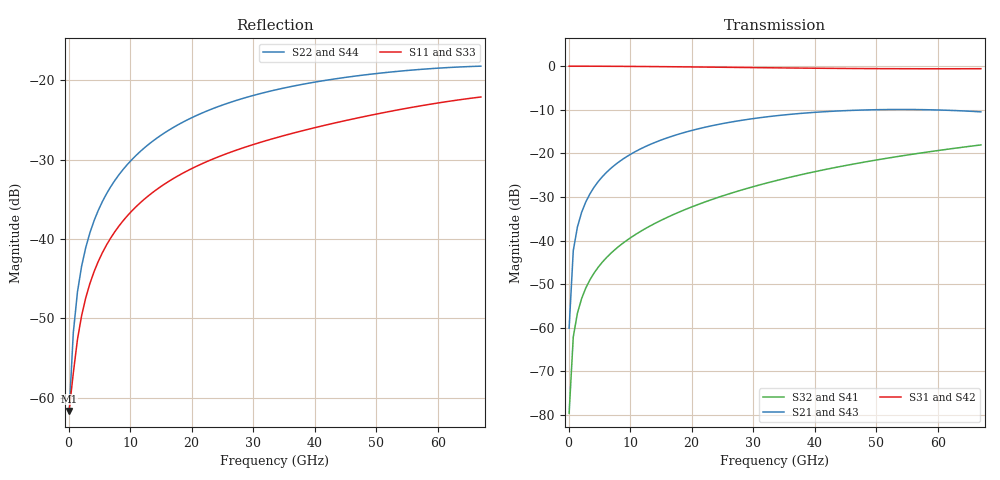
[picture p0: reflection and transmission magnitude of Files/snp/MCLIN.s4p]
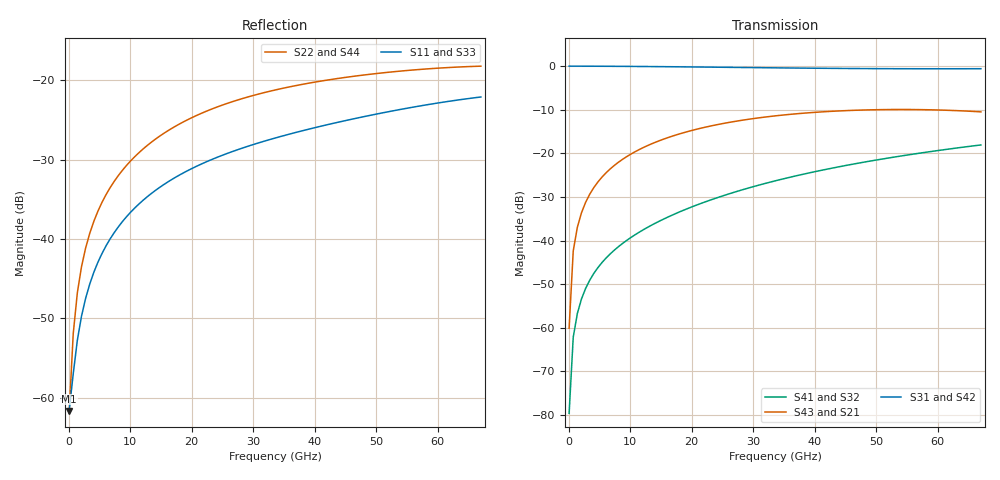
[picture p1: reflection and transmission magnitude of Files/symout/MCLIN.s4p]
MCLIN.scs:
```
simulator lang=local
global 0

NPORT0 1 0 2 0 3 0 4 0 nport file="E:\Saves\pycharm\HowToElementBuilder\Code\Files\snp\MCLIN.s4p"
PORT0 1 0 port r=50 num=1 type=sine rptstart=1 rpttimes=0
PORT1 2 0 port r=50 num=2 type=sine rptstart=1 rpttimes=0
PORT2 3 0 port r=50 num=3 type=sine rptstart=1 rpttimes=0
PORT3 4 0 port r=50 num=4 type=sine rptstart=1 rpttimes=0

SPSweep sp start=100000000 stop=67000000000 step=669000000.0 file="E:\Saves\pycharm\HowToElementBuilder\Code\Files\symout\MCLIN.s4p"

DEFAULT_OPTIONS options tnom=27 temp=27  acout=0 fast_spice=0 reltol=1.000000e-003 rawfmt=nutascii
```
Files/snp/MCLIN.s4p:
! Created with skrf (http://scikit-rf.org).
# Hz S RI R 50.0
!freq ReS11 ImS11 ReS12 ImS12 ReS13 ImS13
! ReS14 ImS14
! ReS21 ImS21 ReS22 ImS22 ReS23 ImS23
! ReS24 ImS24
! ReS31 ImS31 ReS32 ImS32 ReS33 ImS33
! ReS34 ImS34
! ReS41 ImS41 ReS42 ImS42 ReS43 ImS43
! ReS44 ImS44
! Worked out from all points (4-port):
!   100 points, 100 MHz to 67 GHz, reference 50 ohm
!   strongest paths, dB at 100 MHz, 16.99 GHz, 33.89 GHz, 50.78 GHz, 67 GHz:
!     S31: 0.0, -0.1, -0.4, -0.6, -0.6
!     S42: 0.0, -0.1, -0.4, -0.6, -0.6
!     S21: -60.1, -16.0, -11.4, -10.0, -10.5
!     S43: -60.1, -16.0, -11.4, -10.0, -10.5
!     S32: -79.6, -34.1, -26.2, -21.3, -18.1
!     S41: -79.6, -34.1, -26.2, -21.4, -18.1
!   lowest |S11| = -61.7 dB at 100 MHz (marker M1), VSWR 1.00, Z = 50.1 - j0.015 ohm
!   |S11| at or under -10 dB: start of sweep to end of sweep
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1e8  0.000809 -0.00015  3.11e-05 0.000988  0.9992 -0.00307  -2.58e-05 -0.000101
     3.11e-05 0.000989  0.00073 -0.000317  -2.58e-05 -0.000101  0.9993 -0.0031
     0.9992 -0.00307  -2.58e-05 -0.000101  0.000809 -0.00015  3.11e-05 0.000988
     -2.58e-05 -0.000101  0.9993 -0.0031  3.11e-05 0.000989  0.00073 -0.000317
1.091212e10  -0.00268 -0.0157  0.0346 0.0994  0.9371 -0.325  -0.00133 -0.0117
             0.0346 0.0994  -0.0088 -0.0323  -0.00133 -0.0117  0.9357 -0.3281
             0.9371 -0.325  -0.00133 -0.0117  -0.00268 -0.0157  0.0346 0.0994
             -0.00133 -0.0117  0.9357 -0.3281  0.0346 0.0994  -0.0088 -0.0323
6.7e10  -0.0774 -0.0141  0.2842 -0.093  -0.3297 -0.8742  -0.124 0.0144
        0.2842 -0.093  -0.123 0.00426  -0.124 0.0143  -0.3381 -0.8661
        -0.3297 -0.8742  -0.124 0.0144  -0.0774 -0.0141  0.2842 -0.093
        -0.124 0.0143  -0.3381 -0.8661  0.2842 -0.093  -0.123 0.00426
Files/symout/MCLIN.s4p:
! Touchstone Ver. 1.0
! Number of ports is 4
# Hz  S RI  R  50
! SCATTERING PARAMETERS  :
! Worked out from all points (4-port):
!   101 points, 100 MHz to 67 GHz, reference 50 ohm
!   strongest paths, dB at 100 MHz, 16.82 GHz, 33.55 GHz, 50.27 GHz, 67 GHz:
!     S31: 0.0, -0.1, -0.4, -0.6, -0.6
!     S42: 0.0, -0.1, -0.4, -0.6, -0.6
!     S43: -60.1, -16.1, -11.4, -10.0, -10.5
!     S21: -60.1, -16.1, -11.4, -10.0, -10.5
!     S41: -79.6, -34.2, -26.3, -21.5, -18.1
!     S32: -79.6, -34.2, -26.3, -21.5, -18.1
!   lowest |S11| = -61.7 dB at 100 MHz (marker M1), VSWR 1.00, Z = 50.1 - j0.015 ohm
!   |S11| at or under -10 dB: start of sweep to end of sweep
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1e8  0.000809 -0.00015  3.11e-05 0.000989  0.9992 -0.00307  -2.58e-05 -0.000101
     3.11e-05 0.000988  0.00073 -0.000317  -2.58e-05 -0.000101  0.9993 -0.0031
     0.9992 -0.00307  -2.58e-05 -0.000101  0.000809 -0.00015  3.11e-05 0.000989
     -2.58e-05 -0.000101  0.9993 -0.0031  3.11e-05 0.000988  0.00073 -0.000317
1.1473e10  -0.00308 -0.0164  0.0381 0.1036  0.9308 -0.3406  -0.0015 -0.0123
           0.0381 0.1036  -0.00979 -0.0337  -0.0015 -0.0124  0.9293 -0.3439
           0.9308 -0.3406  -0.0015 -0.0123  -0.00308 -0.0164  0.0381 0.1036
           -0.0015 -0.0124  0.9293 -0.3439  0.0381 0.1036  -0.00979 -0.0337
6.7e10  -0.0774 -0.0141  0.2842 -0.093  -0.3297 -0.8742  -0.124 0.0143
        0.2842 -0.093  -0.123 0.00426  -0.124 0.0144  -0.3381 -0.8661
        -0.3297 -0.8742  -0.124 0.0143  -0.0774 -0.0141  0.2842 -0.093
        -0.124 0.0144  -0.3381 -0.8661  0.2842 -0.093  -0.123 0.00426
